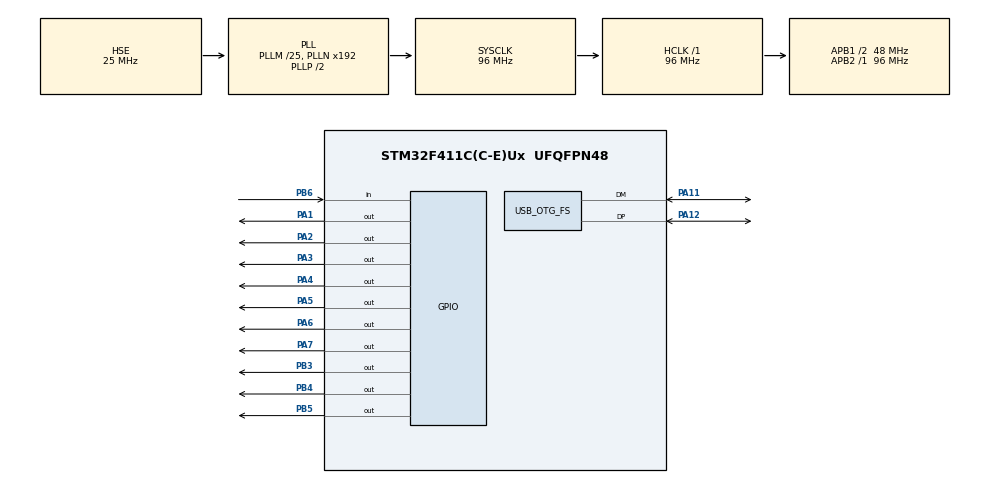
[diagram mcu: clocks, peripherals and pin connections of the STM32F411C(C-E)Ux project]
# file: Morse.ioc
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Mcu.Family=STM32F4
Mcu.Name=STM32F411C(C-E)Ux
Mcu.Package=UFQFPN48
NVIC.OTG_FS_IRQn=true\:0\:0\:false\:false\:true\:false\:true\:true
NVIC.PriorityGroup=NVIC_PRIORITYGROUP_4
PA1.Signal=GPIO_Output
PA11.Mode=Device_Only
PA11.Signal=USB_OTG_FS_DM
PA12.Mode=Device_Only
PA12.Signal=USB_OTG_FS_DP
PA13.Mode=Serial_Wire
PA13.Signal=SYS_JTMS-SWDIO
PA14.Mode=Serial_Wire
PA14.Signal=SYS_JTCK-SWCLK
PA2.Signal=GPIO_Output
PA3.Signal=GPIO_Output
PA4.Signal=GPIO_Output
PA5.Signal=GPIO_Output
PA6.Signal=GPIO_Output
PA7.Signal=GPIO_Output
PB3.Signal=GPIO_Output
PB4.Signal=GPIO_Output
PB5.Signal=GPIO_Output
PB6.Signal=GPIO_Input
PH0\ -\ OSC_IN.Mode=HSE-External-Oscillator
PH0\ -\ OSC_IN.Signal=RCC_OSC_IN
PH1\ -\ OSC_OUT.Mode=HSE-External-Oscillator
PH1\ -\ OSC_OUT.Signal=RCC_OSC_OUT
ProjectManager.HeapSize=0x200
ProjectManager.StackSize=0x400
ProjectManager.TargetToolchain=STM32CubeIDE
RCC.48MHZClocksFreq_Value=48000000
RCC.AHBFreq_Value=96000000
RCC.APB1CLKDivider=RCC_HCLK_DIV2
RCC.APB1Freq_Value=48000000
RCC.APB1TimFreq_Value=96000000
RCC.APB2Freq_Value=96000000
RCC.APB2TimFreq_Value=96000000
RCC.CortexFreq_Value=96000000
RCC.HCLKFreq_Value=96000000
RCC.HSE_VALUE=25000000
RCC.HSI_VALUE=16000000
RCC.LSE_VALUE=32768
RCC.PLLM=25
RCC.SYSCLKFreq_VALUE=96000000
RCC.SYSCLKSource=RCC_SYSCLKSOURCE_PLLCLK
RCC.VCOOutputFreq_Value=192000000
TIM1.Prescaler=96-1
USB_DEVICE.CLASS_NAME_FS=CDC
USB_DEVICE.VirtualMode=Cdc
USB_DEVICE.VirtualModeFS=Cdc_FS
USB_OTG_FS.VirtualMode=Device_Only
VP_TIM1_VS_ClockSourceINT.Mode=Internal
VP_USB_DEVICE_VS_USB_DEVICE_CDC_FS.Mode=CDC_FS
board=custom

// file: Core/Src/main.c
/* USER CODE BEGIN Header */
/**
  ******************************************************************************
  * @file           : main.c
  * @brief          : Main program body
  ******************************************************************************
  * @attention
  *
  * Copyright (c) 2022 STMicroelectronics.
  * All rights reserved.
  *
  * This software is licensed under terms that can be found in the LICENSE file
  * in the root directory of this software component.
  * If no LICENSE file comes with this software, it is provided AS-IS.
  *
  ******************************************************************************
  */
/* USER CODE END Header */
#include "main.h"
#include "usb_device.h"

/* USER CODE BEGIN Includes */
#include <stdio.h>
#include "string.h"
#include "usbd_cdc_if.h"
#include "LiquidCrystal.h"

/* USER CODE END Includes */

/* USER CODE BEGIN PD */
#define BTN_INPUT GPIO_PIN_6
#define GREEN_LED GPIO_PIN_5
#define BLUE_LED GPIO_PIN_4
#define RED_LED GPIO_PIN_3
#define LED_PORT GPIOB

#define CONSOLE_MODE 1 //If set to 1, send the character to console

/* USER CODE END PD */

 TIM_HandleTypeDef htim1;

void SystemClock_Config(void);
static void MX_GPIO_Init(void);
static void MX_TIM1_Init(void);

/* USER CODE BEGIN 0 */
extern uint8_t CDC_Transmit_FS(uint8_t* Buf, uint16_t Len);
char* morse[] = {"._", "_...", "_._.", "_..", ".", ".._.", "__.", "....", "..", ".___", "_._", "._..", "__", "_.", "___", ".__.", "__._", "._.", "...", "_", ".._",  "..._", ".__", "_.._", "_.__", "__.."};

int append(char *s, char c) {
    uint8_t len = strlen(s);

    if (len == 4)
    	return 1;

    s[len] = c;
    s[len+1] = '\0';

    return 0;
}

int search(char* code) {
	//Convert a morse sequence to the corresponding letter
    for (int i = 0; i < 26; i++) {
        if(!strcmp(code, morse[i]))
            return (65+i);
    }
    return 1;
}

void blink(uint16_t pin, uint32_t delay) {
	HAL_GPIO_WritePin(LED_PORT, pin, GPIO_PIN_SET);
	HAL_Delay(delay);
	HAL_GPIO_WritePin(LED_PORT, pin, GPIO_PIN_RESET);
}

/* USER CODE END 0 */

int main(void)
{
  /* USER CODE BEGIN 1 */
	char code[4], letter, data[10];
	int uart_buf_len;
	uint32_t timer_val;
	uint8_t is_pressed = 0, wait_letter = 0, clear = 0;

	memset(code, 0, sizeof code);
	memset(data, 0, sizeof data);

  /* USER CODE END 1 */

  /* MCU Configuration--------------------------------------------------------*/

  /* Reset of all peripherals, Initializes the Flash interface and the Systick. */
  HAL_Init();

  /* Configure the system clock */
  SystemClock_Config();

  /* Initialize all configured peripherals */
  MX_GPIO_Init();
  MX_USB_DEVICE_Init();
  MX_TIM1_Init();
  /* USER CODE BEGIN 2 */
  HAL_TIM_Base_Start(&htim1);
  LCD_Init();
  LCD_Clear();

  /* USER CODE END 2 */

  /* Infinite loop */
  /* USER CODE BEGIN WHILE */
  while (1)
  {
	  //CDC_Transmit_FS((uint8_t*)uart_buf, uart_buf_len);
	  if (wait_letter) {
		  if (HAL_GetTick() - timer_val >= 5000) {
			  blink(GREEN_LED, 500);
			  letter = search(code);
			  uart_buf_len = sprintf(data, "%c", letter);
			  LCD_SendString(data);

			  if (CONSOLE_MODE) CDC_Transmit_FS((uint8_t*)data, uart_buf_len);
			  memset(code, 0, sizeof code);
			  wait_letter = 0;
		  }
	  }

	  if (HAL_GPIO_ReadPin(LED_PORT, BTN_INPUT)){
		  if (!is_pressed) {
			  is_pressed = 1;
			  timer_val = HAL_GetTick();
		  }
	  }

	  else if (!HAL_GPIO_ReadPin(LED_PORT, BTN_INPUT) && is_pressed == 1) {
		  is_pressed = 0;
		  timer_val = HAL_GetTick() - timer_val;
		  if (timer_val <= 1000) {
			  blink(BLUE_LED, 100);
			  clear = append(code, '.');
			  wait_letter = 1;
		  }
		  else if (timer_val <= 3000) {
			  blink(BLUE_LED, 500);
			  clear = append(code, '_');
			  wait_letter = 1;
		  }
		  if (clear) {
			  memset(code, 0, sizeof code);
			  blink(RED_LED, 250);
			  wait_letter = 0;
		  }
		  timer_val = HAL_GetTick();
	  }

    /* USER CODE END WHILE */

  }
}

void SystemClock_Config(void)
{
  RCC_OscInitTypeDef RCC_OscInitStruct = {0};
  RCC_ClkInitTypeDef RCC_ClkInitStruct = {0};

  /** Configure the main internal regulator output voltage
  */
  __HAL_RCC_PWR_CLK_ENABLE();
  __HAL_PWR_VOLTAGESCALING_CONFIG(PWR_REGULATOR_VOLTAGE_SCALE1);

  /** Initializes the RCC Oscillators according to the specified parameters
  * in the RCC_OscInitTypeDef structure.
  */
  RCC_OscInitStruct.OscillatorType = RCC_OSCILLATORTYPE_HSE;
  RCC_OscInitStruct.HSEState = RCC_HSE_ON;
  RCC_OscInitStruct.PLL.PLLState = RCC_PLL_ON;
  RCC_OscInitStruct.PLL.PLLSource = RCC_PLLSOURCE_HSE;
  RCC_OscInitStruct.PLL.PLLM = 25;
  RCC_OscInitStruct.PLL.PLLN = 192;
  RCC_OscInitStruct.PLL.PLLP = RCC_PLLP_DIV2;
  RCC_OscInitStruct.PLL.PLLQ = 4;
  if (HAL_RCC_OscConfig(&RCC_OscInitStruct) != HAL_OK)
  {
    Error_Handler();
  }

  /** Initializes the CPU, AHB and APB buses clocks
  */
  RCC_ClkInitStruct.ClockType = RCC_CLOCKTYPE_HCLK|RCC_CLOCKTYPE_SYSCLK
                              |RCC_CLOCKTYPE_PCLK1|RCC_CLOCKTYPE_PCLK2;
  RCC_ClkInitStruct.SYSCLKSource = RCC_SYSCLKSOURCE_PLLCLK;
  RCC_ClkInitStruct.AHBCLKDivider = RCC_SYSCLK_DIV1;
  RCC_ClkInitStruct.APB1CLKDivider = RCC_HCLK_DIV2;
  RCC_ClkInitStruct.APB2CLKDivider = RCC_HCLK_DIV1;

  if (HAL_RCC_ClockConfig(&RCC_ClkInitStruct, FLASH_LATENCY_3) != HAL_OK)
  {
    Error_Handler();
  }
}

static void MX_TIM1_Init(void)
{

  TIM_ClockConfigTypeDef sClockSourceConfig = {0};
  TIM_MasterConfigTypeDef sMasterConfig = {0};

  htim1.Instance = TIM1;
  htim1.Init.Prescaler = 96-1;
  htim1.Init.CounterMode = TIM_COUNTERMODE_UP;
  htim1.Init.Period = 65535;
  htim1.Init.ClockDivision = TIM_CLOCKDIVISION_DIV1;
  htim1.Init.RepetitionCounter = 0;
  htim1.Init.AutoReloadPreload = TIM_AUTORELOAD_PRELOAD_DISABLE;
  if (HAL_TIM_Base_Init(&htim1) != HAL_OK)
  {
    Error_Handler();
  }
  sClockSourceConfig.ClockSource = TIM_CLOCKSOURCE_INTERNAL;
  if (HAL_TIM_ConfigClockSource(&htim1, &sClockSourceConfig) != HAL_OK)
  {
    Error_Handler();
  }
  sMasterConfig.MasterOutputTrigger = TIM_TRGO_RESET;
  sMasterConfig.MasterSlaveMode = TIM_MASTERSLAVEMODE_DISABLE;
  if (HAL_TIMEx_MasterConfigSynchronization(&htim1, &sMasterConfig) != HAL_OK)
  {
    Error_Handler();
  }

}

static void MX_GPIO_Init(void)
{
  GPIO_InitTypeDef GPIO_InitStruct = {0};

  /* GPIO Ports Clock Enable */
  __HAL_RCC_GPIOH_CLK_ENABLE();
  __HAL_RCC_GPIOA_CLK_ENABLE();
  __HAL_RCC_GPIOB_CLK_ENABLE();

  /*Configure GPIO pin Output Level */
  HAL_GPIO_WritePin(GPIOA, GPIO_PIN_1|GPIO_PIN_2|GPIO_PIN_3|GPIO_PIN_4
                          |GPIO_PIN_5|GPIO_PIN_6|GPIO_PIN_7, GPIO_PIN_RESET);

  /*Configure GPIO pin Output Level */
  HAL_GPIO_WritePin(GPIOB, GPIO_PIN_3|GPIO_PIN_4|GPIO_PIN_5, GPIO_PIN_RESET);

  /*Configure GPIO pins : PA1 PA2 PA3 PA4
                           PA5 PA6 PA7 */
  GPIO_InitStruct.Pin = GPIO_PIN_1|GPIO_PIN_2|GPIO_PIN_3|GPIO_PIN_4
                          |GPIO_PIN_5|GPIO_PIN_6|GPIO_PIN_7;
  GPIO_InitStruct.Mode = GPIO_MODE_OUTPUT_PP;
  GPIO_InitStruct.Pull = GPIO_NOPULL;
  GPIO_InitStruct.Speed = GPIO_SPEED_FREQ_LOW;
  HAL_GPIO_Init(GPIOA, &GPIO_InitStruct);

  /*Configure GPIO pins : PB3 PB4 PB5 */
  GPIO_InitStruct.Pin = GPIO_PIN_3|GPIO_PIN_4|GPIO_PIN_5;
  GPIO_InitStruct.Mode = GPIO_MODE_OUTPUT_PP;
  GPIO_InitStruct.Pull = GPIO_NOPULL;
  GPIO_InitStruct.Speed = GPIO_SPEED_FREQ_LOW;
  HAL_GPIO_Init(GPIOB, &GPIO_InitStruct);

  /*Configure GPIO pin : PB6 */
  GPIO_InitStruct.Pin = GPIO_PIN_6;
  GPIO_InitStruct.Mode = GPIO_MODE_INPUT;
  GPIO_InitStruct.Pull = GPIO_NOPULL;
  HAL_GPIO_Init(GPIOB, &GPIO_InitStruct);

}

void Error_Handler(void)
{
  __disable_irq();
  while (1)
  {
  }
}
